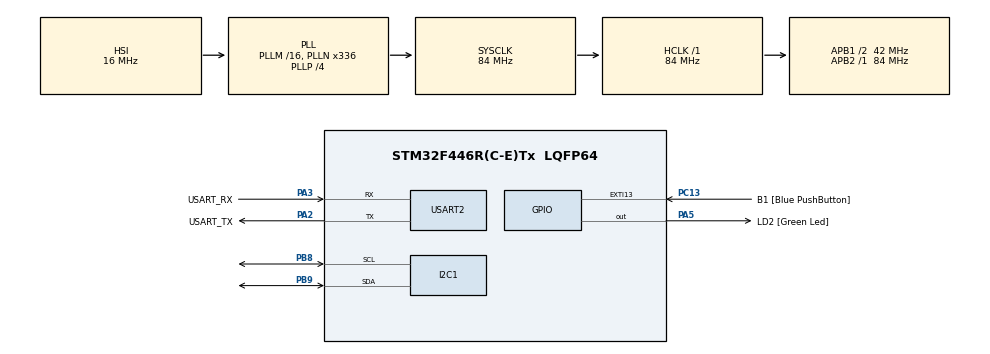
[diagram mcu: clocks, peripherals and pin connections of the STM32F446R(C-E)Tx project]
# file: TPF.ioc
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Mcu.Family=STM32F4
Mcu.Name=STM32F446R(C-E)Tx
Mcu.Package=LQFP64
NVIC.PriorityGroup=NVIC_PRIORITYGROUP_0
PA13.GPIO_Label=TMS
PA13.Mode=Serial_Wire
PA13.Signal=SYS_JTMS-SWDIO
PA14.GPIO_Label=TCK
PA14.Mode=Serial_Wire
PA14.Signal=SYS_JTCK-SWCLK
PA2.GPIO_Label=USART_TX
PA2.Mode=Asynchronous
PA2.Signal=USART2_TX
PA3.GPIO_Label=USART_RX
PA3.Mode=Asynchronous
PA3.Signal=USART2_RX
PA5.GPIO_Label=LD2 [Green Led]
PA5.Signal=GPIO_Output
PB3.GPIO_Label=SWO
PB3.Signal=SYS_JTDO-SWO
PB8.Mode=I2C
PB8.Signal=I2C1_SCL
PB9.Mode=I2C
PB9.Signal=I2C1_SDA
PC13.GPIO_Label=B1 [Blue PushButton]
PC13.GPIO_ModeDefaultEXTI=GPIO_MODE_IT_FALLING
PC13.Signal=GPXTI13
PC14-OSC32_IN.Mode=LSE-External-Oscillator
PC14-OSC32_IN.Signal=RCC_OSC32_IN
PC15-OSC32_OUT.Mode=LSE-External-Oscillator
PC15-OSC32_OUT.Signal=RCC_OSC32_OUT
PH0-OSC_IN.Mode=HSE-External-Oscillator
PH0-OSC_IN.Signal=RCC_OSC_IN
PH1-OSC_OUT.Mode=HSE-External-Oscillator
PH1-OSC_OUT.Signal=RCC_OSC_OUT
ProjectManager.HeapSize=0x200
ProjectManager.StackSize=0x400
ProjectManager.TargetToolchain=STM32CubeIDE
RCC.48MHZClocksFreq_Value=84000000
RCC.AHBFreq_Value=84000000
RCC.APB1CLKDivider=RCC_HCLK_DIV2
RCC.APB1Freq_Value=42000000
RCC.APB1TimFreq_Value=84000000
RCC.APB2Freq_Value=84000000
RCC.APB2TimFreq_Value=84000000
RCC.CortexFreq_Value=84000000
RCC.FLatency-AdvancedSettings=FLASH_LATENCY_2
RCC.HCLKFreq_Value=84000000
RCC.HSE_VALUE=8000000
RCC.HSI_VALUE=16000000
RCC.PLLN=336
RCC.PLLP=RCC_PLLP_DIV4
RCC.SYSCLKFreq_VALUE=84000000
RCC.SYSCLKSource=RCC_SYSCLKSOURCE_PLLCLK
RCC.USBFreq_Value=168000000
RCC.VCOOutputFreq_Value=336000000
USART2.VirtualMode=VM_ASYNC
board=NUCLEO-F446RE

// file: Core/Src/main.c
/* USER CODE BEGIN Header */
/**
  ******************************************************************************
  * @file           : main.c
  * @brief          : Main program body
  ******************************************************************************
  * @attention
  *
  * Copyright (c) 2026 STMicroelectronics.
  * All rights reserved.
  *
  * This software is licensed under terms that can be found in the LICENSE file
  * in the root directory of this software component.
  * If no LICENSE file comes with this software, it is provided AS-IS.
  *
  ******************************************************************************
  */
/* USER CODE END Header */
#include "main.h"
#include <math.h>

/* USER CODE BEGIN Includes */
  #include "API_delay.h"     // Gestión de tiempos
  #include "API_lcd.h"       // Lógica del LCD
  #include "API_mpu6050.h"   // Lógica de la IMU
  #include "API_uart.h"		// Lógica puerto serie
  #include "API_cmdparser.h"
  #include "API_debounce.h" // control antirebote
/* USER CODE END Includes */

I2C_HandleTypeDef hi2c1;

UART_HandleTypeDef huart2;

/* USER CODE BEGIN PV */

// --- Configuración ---
uint32_t baudio_rate = 115200;

// --- Variables de la MEF ---
estadoMEF_t estadoActual = ESTADO_INIT_CALIB;
bool_t cambioEstado = false;

// --- Gestión de Tiempos (API_delay) ---
delay_t delayLCD;            // Refresco de pantalla
delay_t delayAlerta;         // Control de parpadeo del LED (Alarma)
uint8_t indiceFrecuencia = 0; // Para cambios de ritmo en la alarma

// --- Datos de Sensores ---
imu_data_t accel;      // Datos procesados de la IMU
/* USER CODE END PV */

void SystemClock_Config(void);
static void MX_GPIO_Init(void);
static void MX_USART2_UART_Init(void);
static void MX_I2C1_Init(void);

/* USER CODE BEGIN PFP */
void actualizarMEF(bool_t flanco);
void actualizarAlarmaProgresiva(float angX, float angY); //
/* USER CODE END PFP */

int main(void)
{

  /* MCU Configuration--------------------------------------------------------*/

  /* Reset of all peripherals, Initializes the Flash interface and the Systick. */
  HAL_Init();

  /* Configure the system clock */
  SystemClock_Config();

  /* Initialize all configured peripherals */
  MX_GPIO_Init();
  MX_USART2_UART_Init();
  MX_I2C1_Init();

  /* USER CODE BEGIN 2 */
  uartInit(baudio_rate);        // Inicia UART
  LCD_init();                   // Inicia LCD
  MPU6050_Init();               // Inicia Sensor
  debounceFSM_init();
  delayInit(&delayLCD, 200);     // Refresco de datos cada 200ms
  delayInit(&delayAlerta, 500);  // Base para el parpadeo del LED

  /* USER CODE END 2 */

  /* Infinite loop */
  while (1)
  {

    /* USER CODE BEGIN 3 */
	// Actualiza la máquina de estados del botón (Anti-rebote)
	debounceFSM_update();

	 // Lee la UART
	 bool_t comando_uart = cmdParserUpdate();

	 // Lee el botón usando tu función segura (devuelve true una sola vez)
	 bool_t boton_azul = readKey();

	  // Junta las señales: Entramos a la MEF si se apretó el botón o llegó comando
	  cambioEstado = (comando_uart || boton_azul);

	  // Actualiza la máquina principal de lectura/calibración
	  actualizarMEF(cambioEstado);
  }
  /* USER CODE END 3 */
}

void SystemClock_Config(void)
{
  RCC_OscInitTypeDef RCC_OscInitStruct = {0};
  RCC_ClkInitTypeDef RCC_ClkInitStruct = {0};

  /** Configure the main internal regulator output voltage
  */
  __HAL_RCC_PWR_CLK_ENABLE();
  __HAL_PWR_VOLTAGESCALING_CONFIG(PWR_REGULATOR_VOLTAGE_SCALE3);

  /** Initializes the RCC Oscillators according to the specified parameters
  * in the RCC_OscInitTypeDef structure.
  */
  RCC_OscInitStruct.OscillatorType = RCC_OSCILLATORTYPE_HSI;
  RCC_OscInitStruct.HSIState = RCC_HSI_ON;
  RCC_OscInitStruct.HSICalibrationValue = RCC_HSICALIBRATION_DEFAULT;
  RCC_OscInitStruct.PLL.PLLState = RCC_PLL_ON;
  RCC_OscInitStruct.PLL.PLLSource = RCC_PLLSOURCE_HSI;
  RCC_OscInitStruct.PLL.PLLM = 16;
  RCC_OscInitStruct.PLL.PLLN = 336;
  RCC_OscInitStruct.PLL.PLLP = RCC_PLLP_DIV4;
  RCC_OscInitStruct.PLL.PLLQ = 2;
  RCC_OscInitStruct.PLL.PLLR = 2;
  if (HAL_RCC_OscConfig(&RCC_OscInitStruct) != HAL_OK)
  {
    Error_Handler();
  }

  /** Initializes the CPU, AHB and APB buses clocks
  */
  RCC_ClkInitStruct.ClockType = RCC_CLOCKTYPE_HCLK|RCC_CLOCKTYPE_SYSCLK
                              |RCC_CLOCKTYPE_PCLK1|RCC_CLOCKTYPE_PCLK2;
  RCC_ClkInitStruct.SYSCLKSource = RCC_SYSCLKSOURCE_PLLCLK;
  RCC_ClkInitStruct.AHBCLKDivider = RCC_SYSCLK_DIV1;
  RCC_ClkInitStruct.APB1CLKDivider = RCC_HCLK_DIV2;
  RCC_ClkInitStruct.APB2CLKDivider = RCC_HCLK_DIV1;

  if (HAL_RCC_ClockConfig(&RCC_ClkInitStruct, FLASH_LATENCY_2) != HAL_OK)
  {
    Error_Handler();
  }
}

static void MX_I2C1_Init(void)
{

  hi2c1.Instance = I2C1;
  hi2c1.Init.ClockSpeed = 100000;
  hi2c1.Init.DutyCycle = I2C_DUTYCYCLE_2;
  hi2c1.Init.OwnAddress1 = 0;
  hi2c1.Init.AddressingMode = I2C_ADDRESSINGMODE_7BIT;
  hi2c1.Init.DualAddressMode = I2C_DUALADDRESS_DISABLE;
  hi2c1.Init.OwnAddress2 = 0;
  hi2c1.Init.GeneralCallMode = I2C_GENERALCALL_DISABLE;
  hi2c1.Init.NoStretchMode = I2C_NOSTRETCH_DISABLE;
  if (HAL_I2C_Init(&hi2c1) != HAL_OK)
  {
    Error_Handler();
  }

}

static void MX_USART2_UART_Init(void)
{

  huart2.Instance = USART2;
  huart2.Init.BaudRate = 115200;
  huart2.Init.WordLength = UART_WORDLENGTH_8B;
  huart2.Init.StopBits = UART_STOPBITS_1;
  huart2.Init.Parity = UART_PARITY_NONE;
  huart2.Init.Mode = UART_MODE_TX_RX;
  huart2.Init.HwFlowCtl = UART_HWCONTROL_NONE;
  huart2.Init.OverSampling = UART_OVERSAMPLING_16;
  if (HAL_UART_Init(&huart2) != HAL_OK)
  {
    Error_Handler();
  }

}

static void MX_GPIO_Init(void)
{
  GPIO_InitTypeDef GPIO_InitStruct = {0};

  /* GPIO Ports Clock Enable */
  __HAL_RCC_GPIOC_CLK_ENABLE();
  __HAL_RCC_GPIOH_CLK_ENABLE();
  __HAL_RCC_GPIOA_CLK_ENABLE();
  __HAL_RCC_GPIOB_CLK_ENABLE();

  /*Configure GPIO pin Output Level */
  HAL_GPIO_WritePin(LD2_GPIO_Port, LD2_Pin, GPIO_PIN_RESET);

  /*Configure GPIO pin : B1_Pin */
  GPIO_InitStruct.Pin = B1_Pin;
  GPIO_InitStruct.Mode = GPIO_MODE_IT_FALLING;
  GPIO_InitStruct.Pull = GPIO_NOPULL;
  HAL_GPIO_Init(B1_GPIO_Port, &GPIO_InitStruct);

  /*Configure GPIO pin : LD2_Pin */
  GPIO_InitStruct.Pin = LD2_Pin;
  GPIO_InitStruct.Mode = GPIO_MODE_OUTPUT_PP;
  GPIO_InitStruct.Pull = GPIO_NOPULL;
  GPIO_InitStruct.Speed = GPIO_SPEED_FREQ_LOW;
  HAL_GPIO_Init(LD2_GPIO_Port, &GPIO_InitStruct);

}

/* USER CODE BEGIN 4 */
/**
  * @brief Implementación de la MEF
  */
void actualizarMEF(bool_t flanco) {
    switch(estadoActual) {
        case ESTADO_INIT_CALIB:
            // calibración
        	LCD_goto_xy(0, 0);
        	LCD_write_string("Calibrando...   ");
        	//MPU6050_Calibrate();
        	HAL_Delay(1000);
        	estadoActual = ESTADO_IDLE;
        	LCD_clear();
        	break;

        case ESTADO_IDLE:
        	LCD_goto_xy(0,0);
        	LCD_write_string("Listo! Presione");
        	LCD_goto_xy(1, 0);
        	LCD_write_string("Boton Azul o 'S'");
            if(flanco) {
                estadoActual = ESTADO_READING;
                LCD_clear();
            }
            break;

        case ESTADO_READING:
            // Manejo del Flanco (Comando 'S' o Botón)
        	LCD_goto_xy(0,0);
        	LCD_write_string("Leyendo");
        	if(flanco) {
                uartSendString((uint8_t*)"[MODO] Regresando a IDLE\r\n");
                // Apaga el LED al salir
                HAL_GPIO_WritePin(LD2_GPIO_Port, LD2_Pin, GPIO_PIN_RESET);
                estadoActual = ESTADO_IDLE;
                break;
            }
            // Lectura Temporizada (No bloqueante)
            // Usa el delay de la API_delay para leer cada 100ms
            if (delayRead(&delayLCD)) {
               MPU6050_Read_All(&accel);
                // Lógica de Alarma (±45º)
                if (fabsf(accel.angle_x) > 45.0f || fabsf(accel.angle_y) > 45.0f) {
                    // Lógica de parpadeo progresivo del LED
                    actualizarAlarmaProgresiva(accel.angle_x, accel.angle_y);
                } else {
                    // Si el ángulo es seguro, deja fijo el led
                    HAL_GPIO_WritePin(LD2_GPIO_Port, LD2_Pin, GPIO_PIN_RESET);
                    indiceFrecuencia = 0; // Reseteamos la intensidad de la alarma
                }
                // Actualización de Interfaz
                // Envia datos por uart
                LCD_mostrarDatosEnLCD(accel.angle_x, accel.angle_y);
            }
            break;
        case ESTADO_ERROR:
            break;
    }
}

void actualizarAlarmaProgresiva(float angX, float angY) {
    if (delayRead(&delayAlerta)) {
        HAL_GPIO_TogglePin(LD2_GPIO_Port, LD2_Pin);
    }
}
/* USER CODE END 4 */

void Error_Handler(void)
{
  __disable_irq();
  while (1)
  {
  }
}
